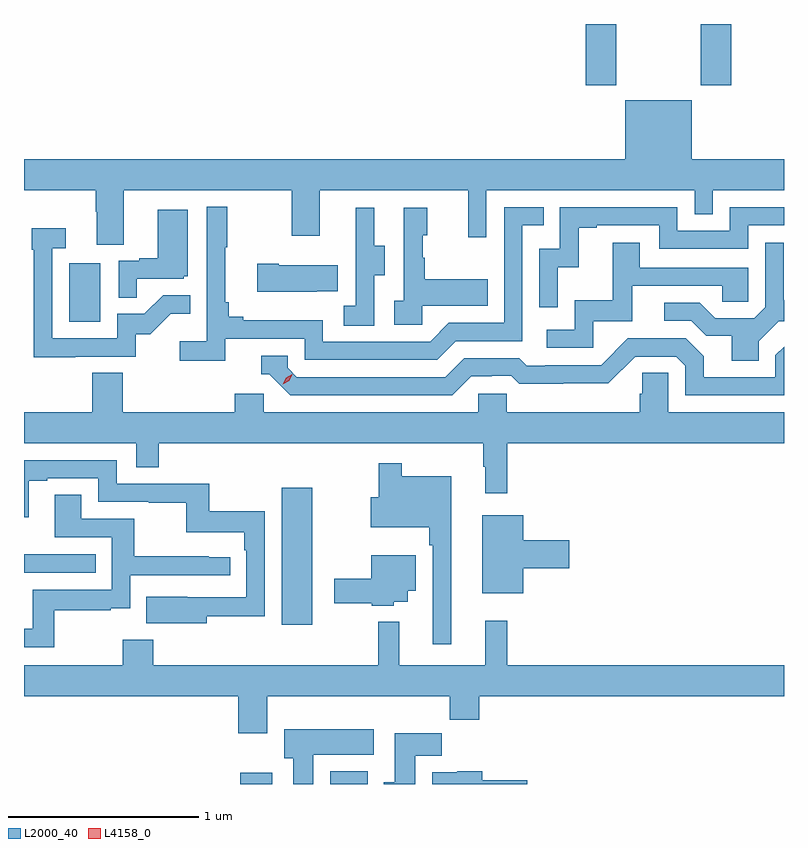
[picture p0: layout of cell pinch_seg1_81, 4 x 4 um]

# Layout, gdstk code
import gdstk
lib = gdstk.Library(unit=1e-6, precision=1e-09)
def R(c, l, rs):  # rectangles x0, y0, x1, y1
    for r in rs: c.add(gdstk.rectangle(r[:2], r[2:], *l))
def P(c, l, *ps):  # polygons
    for p in ps: c.add(gdstk.Polygon(p, *l))
L2000_40 = (2000, 40)
L4158_0 = (4158, 0)

pinch_seg1_81 = lib.new_cell('pinch_seg1_81')
R(pinch_seg1_81, L2000_40, [(1032.908,573.915,1033.078,573.973), (1033.382,573.915,1033.579,573.982), (1033.127,574.752,1033.288,575.473), (1031.771,575.028,1032.149,575.124), (1032.008,576.348,1032.172,576.655), (1034.728,577.593,1034.889,577.915), (1035.334,577.593,1035.494,577.915)])
P(pinch_seg1_81, L2000_40, [(1032.295,577.04),(1033.18,577.04),(1033.18,576.801),(1033.327,576.801),(1033.327,577.04),(1034.108,577.04),(1034.108,576.792),(1034.205,576.792),(1034.205,577.04),(1035.3,577.04),(1035.3,576.913),(1035.396,576.913),(1035.396,577.04),(1035.771,577.04),(1035.771,577.204),(1035.286,577.204),(1035.286,577.513),(1034.936,577.513),(1034.936,577.204),(1031.771,577.204),(1031.771,577.04),(1032.148,577.04),(1032.148,576.928),(1032.155,576.928),(1032.155,576.754),(1032.295,576.754)],
  [(1032.83,576.258),(1033.248,576.258),(1033.248,576.147),(1033.945,576.147),(1034.044,576.246),(1034.394,576.246),(1034.394,576.855),(1034.507,576.855),(1034.507,576.951),(1034.298,576.951),(1034.298,576.342),(1034.007,576.342),(1033.908,576.243),(1033.344,576.243),(1033.344,576.355),(1032.925,576.355),(1032.925,576.374),(1032.848,576.374),(1032.848,576.451),(1032.829,576.451),(1032.829,576.739),(1032.841,576.739),(1032.841,576.952),(1032.732,576.952),(1032.732,576.244),(1032.591,576.244),(1032.591,576.142),(1032.83,576.142)],
  [(1034.58,576.635),(1034.69,576.635),(1034.69,576.843),(1034.785,576.843),(1034.785,576.855),(1035.114,576.855),(1035.114,576.732),(1035.582,576.732),(1035.582,576.855),(1035.771,576.855),(1035.771,576.951),(1035.486,576.951),(1035.486,576.828),(1035.21,576.828),(1035.21,576.951),(1034.592,576.951),(1034.592,576.732),(1034.484,576.732),(1034.484,576.423),(1034.58,576.423)],
  [(1033.866,576.431),(1034.213,576.431),(1034.213,576.571),(1033.879,576.571),(1033.879,576.686),(1033.869,576.686),(1033.869,576.804),(1033.894,576.804),(1033.894,576.949),(1033.77,576.949),(1033.77,576.458),(1033.719,576.458),(1033.719,576.333),(1033.866,576.333)],
  [(1033.614,576.592),(1033.669,576.592),(1033.669,576.747),(1033.615,576.747),(1033.615,576.949),(1033.517,576.949),(1033.517,576.735),(1033.518,576.735),(1033.518,576.431),(1033.455,576.431),(1033.455,576.328),(1033.614,576.328)],
  [(1032.365,576.573),(1032.612,576.573),(1032.612,576.588),(1032.634,576.588),(1032.634,576.937),(1032.476,576.937),(1032.476,576.682),(1032.377,576.682),(1032.377,576.669),(1032.27,576.669),(1032.27,576.475),(1032.365,576.475)],
  [(1032.041,576.165),(1032.36,576.165),(1032.36,576.282),(1032.436,576.282),(1032.543,576.389),(1032.647,576.389),(1032.647,576.488),(1032.503,576.488),(1032.405,576.39),(1032.261,576.39),(1032.261,576.261),(1031.919,576.261),(1031.919,576.735),(1031.992,576.735),(1031.992,576.841),(1031.811,576.841),(1031.811,576.728),(1031.823,576.728),(1031.823,576.16),(1032.041,576.16)],
  [(1035.637,576.244),(1035.744,576.351),(1035.771,576.351),(1035.771,576.46),(1035.769,576.46),(1035.769,576.763),(1035.672,576.763),(1035.672,576.423),(1035.615,576.366),(1035.409,576.366),(1035.328,576.447),(1035.141,576.447),(1035.141,576.354),(1035.282,576.354),(1035.362,576.274),(1035.497,576.274),(1035.497,576.142),(1035.637,576.142)],
  [(1034.766,576.351),(1034.971,576.351),(1034.971,576.537),(1035.445,576.537),(1035.445,576.453),(1035.582,576.453),(1035.582,576.633),(1035.013,576.633),(1035.013,576.763),(1034.869,576.763),(1034.869,576.46),(1034.67,576.46),(1034.67,576.306),(1034.523,576.306),(1034.523,576.21),(1034.766,576.21)],
  [(1033.313,576.509),(1033.421,576.509),(1033.421,576.646),(1033.111,576.646),(1033.111,576.654),(1032.999,576.654),(1032.999,576.506),(1033.313,576.506)],
  [(1034.125,576.06),(1034.232,576.06),(1034.232,576.063),(1034.335,576.063),(1034.377,576.021),(1034.61,576.021),(1034.61,576.023),(1034.846,576.023),(1034.988,576.165),(1035.204,576.165),(1035.252,576.117),(1035.252,575.961),(1035.771,575.961),(1035.771,576.216),(1035.726,576.171),(1035.726,576.057),(1035.349,576.057),(1035.349,576.167),(1035.255,576.261),(1034.949,576.261),(1034.808,576.12),(1034.515,576.12),(1034.515,576.117),(1034.416,576.117),(1034.377,576.156),(1034.088,576.156),(1033.989,576.057),(1033.206,576.057),(1033.158,576.105),(1033.158,576.168),(1033.019,576.168),(1033.019,576.072),(1033.062,576.072),(1033.173,575.961),(1034.026,575.961)],
  [(1034.315,575.708),(1035.771,575.708),(1035.771,575.872),(1035.162,575.872),(1035.162,576.08),(1035.025,576.08),(1035.025,575.97),(1035.011,575.97),(1035.011,575.872),(1034.313,575.872),(1034.313,575.97),(1034.163,575.97),(1034.163,575.872),(1033.032,575.872),(1033.032,575.97),(1032.881,575.97),(1032.881,575.872),(1032.29,575.872),(1032.29,576.08),(1032.13,576.08),(1032.13,575.872),(1031.771,575.872),(1031.771,575.708),(1032.363,575.708),(1032.363,575.581),(1032.479,575.581),(1032.479,575.708),(1034.187,575.708),(1034.187,575.585),(1034.198,575.585),(1034.198,575.445),(1034.315,575.445)],
  [(1032.733,574.798),(1033.038,574.798),(1033.038,575.35),(1032.745,575.35),(1032.745,575.496),(1032.258,575.496),(1032.258,575.619),(1031.771,575.619),(1031.771,575.318),(1031.797,575.318),(1031.797,575.511),(1031.893,575.511),(1031.893,575.523),(1032.162,575.523),(1032.162,575.4),(1032.427,575.4),(1032.427,575.395),(1032.624,575.395),(1032.624,575.24),(1032.929,575.24),(1032.929,575.144),(1032.942,575.144),(1032.942,574.899),(1032.629,574.899),(1032.629,574.9),(1032.415,574.9),(1032.415,574.76),(1032.733,574.76)],
  [(1034.02,575.536),(1033.759,575.536),(1033.759,575.602),(1033.638,575.602),(1033.638,575.425),(1033.596,575.425),(1033.596,575.267),(1033.903,575.267),(1033.903,575.171),(1033.923,575.171),(1033.923,574.65),(1034.02,574.65)],
  [(1031.929,574.83),(1032.227,574.83),(1032.227,574.841),(1032.33,574.841),(1032.33,575.013),(1032.856,575.013),(1032.856,575.109),(1032.743,575.109),(1032.743,575.114),(1032.35,575.114),(1032.35,575.31),(1032.073,575.31),(1032.073,575.438),(1031.933,575.438),(1031.933,575.214),(1032.234,575.214),(1032.234,574.938),(1031.818,574.938),(1031.818,574.732),(1031.771,574.732),(1031.771,574.635),(1031.929,574.635)],
  [(1034.398,575.051),(1034.641,575.051),(1034.641,575.198),(1034.398,575.198),(1034.398,575.329),(1034.183,575.329),(1034.183,574.919),(1034.398,574.919)],
  [(1033.716,574.874),(1033.792,574.874),(1033.792,574.931),(1033.834,574.931),(1033.834,575.119),(1033.598,575.119),(1033.598,574.996),(1033.404,574.996),(1033.404,574.867),(1033.602,574.867),(1033.602,574.853),(1033.716,574.853)],
  [(1033.051,574.376),(1034.011,574.376),(1034.011,574.252),(1034.168,574.252),(1034.168,574.376),(1035.771,574.376),(1035.771,574.54),(1034.315,574.54),(1034.315,574.774),(1034.198,574.774),(1034.198,574.54),(1033.745,574.54),(1033.745,574.768),(1033.635,574.768),(1033.635,574.54),(1032.452,574.54),(1032.452,574.675),(1032.292,574.675),(1032.292,574.54),(1031.771,574.54),(1031.771,574.376),(1032.899,574.376),(1032.899,574.182),(1033.051,574.182)],
  [(1033.294,574.07),(1033.612,574.07),(1033.612,574.204),(1033.142,574.204),(1033.142,574.05),(1033.187,574.05),(1033.187,573.915),(1033.294,573.915)],
  [(1033.831,574.064),(1033.97,574.064),(1033.97,574.183),(1033.721,574.183),(1033.721,573.924),(1033.664,573.924),(1033.664,573.915),(1033.831,573.915)],
  [(1034.419,573.936),(1034.183,573.936),(1034.183,573.982),(1034.052,573.982),(1034.052,573.976),(1033.919,573.976),(1033.919,573.915),(1034.419,573.915)])
P(pinch_seg1_81, L4158_0, [(1033.134,576.019),(1033.134,576.019),(1033.151,576.052),(1033.182,576.071),(1033.183,576.071),(1033.183,576.07),(1033.166,576.038),(1033.134,576.019)])

lib.write_gds('pinch_seg1_81.gds')
